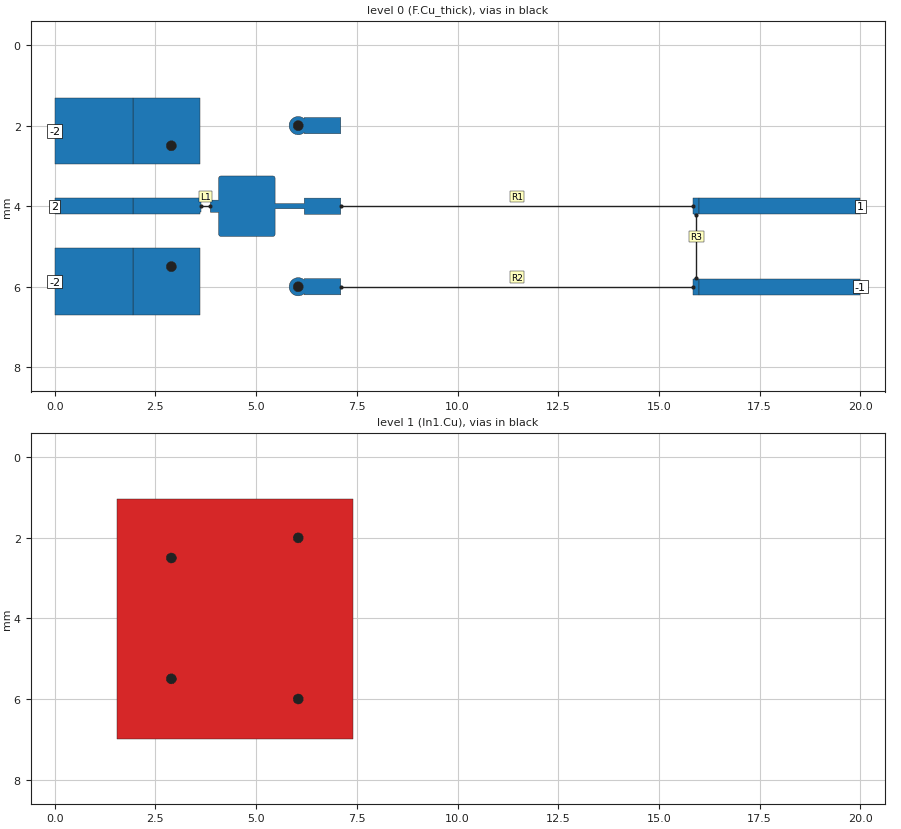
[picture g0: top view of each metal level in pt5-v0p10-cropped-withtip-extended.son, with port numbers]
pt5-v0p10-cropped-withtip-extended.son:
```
FTYP SONPROJ 19 ! Sonnet Project File
VER 18.56
HEADER
LIC antikernel2.1.51813
DAT 10/20/2022 10:21:03
BUILT_BY_CREATED xgeom 18.54 09/23/2022 20:17:08
BUILT_BY_SAVED sonnet 18.56
MDATE 10/20/2022 10:21:03
HDATE 10/20/2022 10:21:03
ANN Created by dxfgeo, Sonnet Software Inc.
END HEADER
DIM
ANG DEG
CAP FF
CON /OH
FREQ GHZ
IND PH
LNG MM
RES OH
END DIM
CONTROL
VARSWP
OPTIONS  -dj
SPEED 1
CACHE_ABS 2
Q_ACC N
END CONTROL
GEO
DRP1 LEFT LINK
POLY 352 1
0
DRP1 RIGHT LINK
POLY 346 1
0
TMET "Free Space" 0 FREESPACE 376.7303136 0 0 0
BMET "Free Space" 0 FREESPACE 376.7303136 0 0 0
MET "Copper_1oz+plated_thick_up" 1 TMM 58000000 0.5 0.0432 2
MET "Copper_1oz+plated_thin" 4 NOR 58000000 0.5 0.0432 
MET "Copper_0.5oz_thin" 2 NOR 58000000 0.5 0.0175 
MET "Copper_1oz+plated_thick_down" 3 TMM 58000000 0.5 0.0432 2 CDVY TDWN
MET "Copper 35um" 1 VOL 58000000 0.035
BOX 4 20 8 1600 640 20 0
      10 1 1 0 0 0 0 "Air"
      0.2021 3.61 1 0.0092 0 0 0 "Isola_FR408HR"
      1.1938 3.61 1 0.0092 0 0 0 "Isola_FR408HR"
      0.2021 3.61 1 0.0092 0 0 0 "Isola_FR408HR"
      10 1 1 0 0 0 0 "Air"
TECHLAY VIA Via1 L3D0 -7 -65534 CAD Via1 drawing 
VIA POLYGON
0 0 4 N 327 1 1 100 100 0 0 0 Y
TOLEVEL 3 RING NOCOVERS
END
END
TECHLAY METAL F.Cu_thick L1D0 -1 -65534 CAD F.Cu drawing 
0 0 0 N 149 1 1 100 100 0 0 0 Y
END
END
TECHLAY METAL F.Cu_thin <UNSPECIFIED> -2 -65534 CAD F.Cu_thin drawing 
0 0 1 N 161 1 1 100 100 0 0 0 Y
END
END
TECHLAY METAL In1.Cu L2D0 -3 -65534 CAD In1.Cu drawing 
1 0 2 N 166 1 1 100 100 0 0 0 Y
END
END
TECHLAY METAL In2.Cu <UNSPECIFIED> -4 -65534 CAD In2.Cu drawing 
2 0 2 N 169 1 1 100 100 0 0 0 Y
END
END
TECHLAY METAL B.Cu_thick <UNSPECIFIED> -5 -65534 CAD B.Cu drawing 
3 0 3 N 172 1 1 100 100 0 0 0 Y
END
END
TECHLAY METAL B.Cu_thin <UNSPECIFIED> -6 -65534 CAD B.Cu_thin drawing 
3 0 1 N 174 1 1 100 100 0 0 0 Y
END
END
LORGN 0 8 U 
POR1 BOX
POLY 346 1
2
1 50 0 0 0 20 4 
POR1 BOX
POLY 349 1
2
-1 50 0 0 0 20 6 
POR1 BOX
POLY 352 1
2
-2 50 0 0 0 0 2.13 
POR1 BOX
POLY 356 1
2
-2 50 0 0 0 0 5.87 
POR1 BOX
POLY 359 1
2
2 50 0 0 0 0 4 
SMD 0 "L1"
ID 126
GNDREF AUTO
DRP1 RIGHT NONE 1
DRP1 LEFT NONE 1
SBOX 3.6925 3.8075 3.9425 4.0575
PBSHW N
LPOS 3.75 3.9425
TYPE SPARAM 1
SMDP 0 3.865 4 R 3 1 
EXSMDP
GNDREF AUTO
TERMW FEED
END EXSMDP
SMDP 0 3.635 4 L 4 2 
EXSMDP
GNDREF AUTO
TERMW FEED
END EXSMDP
END
SMD 0 "R1"
ID 213
GNDREF FLOAT
DRP1 RIGHT NONE 2
DRP1 LEFT NONE 2
SBOX 9.2875 13.6625 1.8125 6.1875
PBSHW Y
PBOX 7.1 15.85 1.8125 6.1875
PKG 8.75 0.9 0.9
LPOS 11.475 1.8125
TYPE SPARAM 2
SMDP 0 15.85 4 R 5 1 
EXSMDP
GNDREF FLOAT
TERMW FEED
END EXSMDP
SMDP 0 7.1 4 L 6 2 
EXSMDP
GNDREF FLOAT
TERMW FEED
END EXSMDP
END
SMD 0 "R2"
ID 218
GNDREF FLOAT
DRP1 LEFT NONE 2
DRP1 RIGHT NONE 2
SBOX 9.2875 13.6625 3.8125 8.1875
PBSHW Y
PBOX 7.1 15.85 3.8125 8.1875
PKG 8.75 0.9 0.9
LPOS 11.475 3.8125
TYPE SPARAM 3
SMDP 0 15.85 6 R 7 1 
EXSMDP
GNDREF FLOAT
TERMW FEED
END EXSMDP
SMDP 0 7.1 6 L 8 2 
EXSMDP
GNDREF FLOAT
TERMW FEED
END EXSMDP
END
SMD 0 "R3"
ID 227
GNDREF AUTO
DRP1 TOP NONE 1
DRP1 BOTTOM NONE 1
SBOX 15.535 16.325 4.605 5.395
PBSHW Y
PBOX 15.14 16.72 4.605 5.395
PKG 1.58 0.1 0.1
LPOS 15.93 4.605
TYPE IDEAL RES 50
SMDP 0 15.93 4.21 T 9 1 
EXSMDP
GNDREF AUTO
TERMW FEED
END EXSMDP
SMDP 0 15.93 5.79 B 10 2 
EXSMDP
GNDREF AUTO
TERMW FEED
END EXSMDP
END
NUM 20
VIA POLYGON
0 53 4 N 15 1 1 100 100 0 0 0 Y
TOLEVEL 3 RING NOCOVERS
TLAYNAM Via1 INH
USER_DAT FromImport
6.045 6.125
6.021 6.123
6.009 6.12
5.997 6.115
5.986 6.11
5.976 6.104
5.966 6.097
5.948 6.079
5.941 6.069
5.935 6.059
5.93 6.048
5.925 6.036
5.922 6.024
5.92 6
5.922 5.976
5.925 5.964
5.93 5.952
5.935 5.941
5.941 5.931
5.948 5.921
5.966 5.903
5.976 5.896
5.986 5.89
5.997 5.885
6.009 5.88
6.021 5.877
6.045 5.875
6.069 5.877
6.081 5.88
6.093 5.885
6.104 5.89
6.114 5.896
6.124 5.903
6.142 5.921
6.149 5.931
6.155 5.941
6.16 5.952
6.165 5.964
6.168 5.976
6.17 6
6.168 6.024
6.165 6.036
6.16 6.048
6.155 6.059
6.149 6.069
6.142 6.079
6.124 6.097
6.114 6.104
6.104 6.11
6.093 6.115
6.081 6.12
6.069 6.123
6.045 6.125
END
VIA POLYGON
0 53 4 N 18 1 1 100 100 0 0 0 Y
TOLEVEL 3 RING NOCOVERS
TLAYNAM Via1 INH
USER_DAT FromImport
2.895 5.625
2.871 5.623
2.859 5.62
2.847 5.615
2.836 5.61
2.826 5.604
2.816 5.597
2.798 5.579
2.791 5.569
2.785 5.559
2.78 5.548
2.775 5.536
2.772 5.524
2.77 5.5
2.772 5.476
2.775 5.464
2.78 5.452
2.785 5.441
2.791 5.431
2.798 5.421
2.816 5.403
2.826 5.396
2.836 5.39
2.847 5.385
2.859 5.38
2.871 5.377
2.895 5.375
2.919 5.377
2.931 5.38
2.943 5.385
2.954 5.39
2.964 5.396
2.974 5.403
2.992 5.421
2.999 5.431
3.005 5.441
3.01 5.452
3.015 5.464
3.018 5.476
3.02 5.5
3.018 5.524
3.015 5.536
3.01 5.548
3.005 5.559
2.999 5.569
2.992 5.579
2.974 5.597
2.964 5.604
2.954 5.61
2.943 5.615
2.931 5.62
2.919 5.623
2.895 5.625
END
VIA POLYGON
0 53 4 N 21 1 1 100 100 0 0 0 Y
TOLEVEL 3 RING NOCOVERS
TLAYNAM Via1 INH
USER_DAT FromImport
2.895 2.625
2.871 2.623
2.859 2.62
2.847 2.615
2.836 2.61
2.826 2.604
2.816 2.597
2.798 2.579
2.791 2.569
2.785 2.559
2.78 2.548
2.775 2.536
2.772 2.524
2.77 2.5
2.772 2.476
2.775 2.464
2.78 2.452
2.785 2.441
2.791 2.431
2.798 2.421
2.816 2.403
2.826 2.396
2.836 2.39
2.847 2.385
2.859 2.38
2.871 2.377
2.895 2.375
2.919 2.377
2.931 2.38
2.943 2.385
2.954 2.39
2.964 2.396
2.974 2.403
2.992 2.421
2.999 2.431
3.005 2.441
3.01 2.452
3.015 2.464
3.018 2.476
3.02 2.5
3.018 2.524
3.015 2.536
3.01 2.548
3.005 2.559
2.999 2.569
2.992 2.579
2.974 2.597
2.964 2.604
2.954 2.61
2.943 2.615
2.931 2.62
2.919 2.623
2.895 2.625
END
VIA POLYGON
0 53 4 N 24 1 1 100 100 0 0 0 Y
TOLEVEL 3 RING NOCOVERS
TLAYNAM Via1 INH
USER_DAT FromImport
6.045 2.125
6.021 2.123
6.009 2.12
5.997 2.115
5.986 2.11
5.976 2.104
5.966 2.097
5.948 2.079
5.941 2.069
5.935 2.059
5.93 2.048
5.925 2.036
5.922 2.024
5.92 2
5.922 1.976
5.925 1.964
5.93 1.952
5.935 1.941
5.941 1.931
5.948 1.921
5.966 1.903
5.976 1.896
5.986 1.89
5.997 1.885
6.009 1.88
6.021 1.877
6.045 1.875
6.069 1.877
6.081 1.88
6.093 1.885
6.104 1.89
6.114 1.896
6.124 1.903
6.142 1.921
6.149 1.931
6.155 1.941
6.16 1.952
6.165 1.964
6.168 1.976
6.17 2
6.168 2.024
6.165 2.036
6.16 2.048
6.155 2.059
6.149 2.069
6.142 2.079
6.124 2.097
6.114 2.104
6.104 2.11
6.093 2.115
6.081 2.12
6.069 2.123
6.045 2.125
END
0 5 0 N 105 1 1 100 100 0 0 0 Y
TLAYNAM F.Cu_thick INH
USER_DAT FromImport
3.605 1.31
1.95 1.31
1.95 2.95
3.605 2.95
3.605 1.31
END
0 5 0 N 106 1 1 100 100 0 0 0 Y
TLAYNAM F.Cu_thick INH
USER_DAT FromImport
3.605 5.05
1.95 5.05
1.95 6.69
3.605 6.69
3.605 5.05
END
0 9 0 N 107 1 1 100 100 0 0 0 Y
TLAYNAM F.Cu_thick INH
USER_DAT FromImport
3.605 4.15
3.635 4.15
3.635 3.85
3.605 3.85
3.605 3.8
1.95 3.8
1.95 4.2
3.605 4.2
3.605 4.15
END
0 25 0 N 112 1 1 100 100 0 0 0 Y
TLAYNAM F.Cu_thick INH
USER_DAT FromImport
5.456 4.736
5.47 4.701
5.47 4.063
6.195 4.063
6.195 4.2
7.1 4.2
7.1 3.8
6.195 3.8
6.195 3.937
5.47 3.937
5.47 3.299
5.456 3.264
5.421 3.25
4.119 3.25
4.084 3.264
4.07 3.299
4.07 3.85
3.865 3.85
3.865 4.15
4.07 4.15
4.07 4.701
4.084 4.736
4.119 4.75
5.421 4.75
5.456 4.736
END
0 53 0 N 113 1 1 100 100 0 0 0 Y
TLAYNAM F.Cu_thick INH
USER_DAT FromImport
6.078 6.223
6.1 6.218
6.121 6.212
6.141 6.203
6.161 6.193
6.179 6.181
6.195 6.168
6.195 6.2
7.1 6.2
7.1 5.8
6.195 5.8
6.195 5.832
6.179 5.819
6.161 5.807
6.141 5.797
6.121 5.788
6.1 5.782
6.078 5.777
6.056 5.775
6.034 5.775
6.012 5.777
5.99 5.782
5.969 5.788
5.949 5.797
5.929 5.807
5.911 5.819
5.894 5.833
5.878 5.849
5.864 5.866
5.852 5.884
5.842 5.904
5.833 5.924
5.827 5.945
5.822 5.967
5.82 5.989
5.82 6.011
5.822 6.033
5.827 6.055
5.833 6.076
5.842 6.096
5.852 6.116
5.864 6.134
5.878 6.151
5.894 6.167
5.911 6.181
5.929 6.193
5.949 6.203
5.969 6.212
5.99 6.218
6.012 6.223
6.034 6.225
6.056 6.225
6.078 6.223
END
0 53 0 N 114 1 1 100 100 0 0 0 Y
TLAYNAM F.Cu_thick INH
USER_DAT FromImport
6.078 2.223
6.1 2.218
6.121 2.212
6.141 2.203
6.161 2.193
6.179 2.181
6.195 2.168
6.195 2.2
7.1 2.2
7.1 1.8
6.195 1.8
6.195 1.832
6.179 1.819
6.161 1.807
6.141 1.797
6.121 1.788
6.1 1.782
6.078 1.777
6.056 1.775
6.034 1.775
6.012 1.777
5.99 1.782
5.969 1.788
5.949 1.797
5.929 1.807
5.911 1.819
5.894 1.833
5.878 1.849
5.864 1.866
5.852 1.884
5.842 1.904
5.833 1.924
5.827 1.945
5.822 1.967
5.82 1.989
5.82 2.011
5.822 2.033
5.827 2.055
5.833 2.076
5.842 2.096
5.852 2.116
5.864 2.134
5.878 2.151
5.894 2.167
5.911 2.181
5.929 2.193
5.949 2.203
5.969 2.212
5.99 2.218
6.012 2.223
6.034 2.225
6.056 2.225
6.078 2.223
END
0 5 0 N 204 1 1 100 100 0 0 0 Y
TLAYNAM F.Cu_thick INH
15.85 3.8
16 3.8
16 4.2
15.85 4.2
15.85 3.8
END
0 5 0 N 205 1 1 100 100 0 0 0 Y
TLAYNAM F.Cu_thick INH
15.85 5.8
16 5.8
16 6.2
15.85 6.2
15.85 5.8
END
0 5 0 N 225 1 1 100 100 0 0 0 Y
TLAYNAM F.Cu_thick INH
15.98 5.79
15.88 5.79
15.88 5.8
15.98 5.8
15.98 5.79
END
0 5 0 N 226 1 1 100 100 0 0 0 Y
TLAYNAM F.Cu_thick INH
15.98 4.2
15.88 4.2
15.88 4.21
15.98 4.21
15.98 4.2
END
0 5 0 N 346 1 1 100 100 0 0 0 Y
TLAYNAM F.Cu_thick INH
16 3.8
16 4.2
20 4.2
20 3.8
16 3.8
END
0 5 0 N 349 1 1 100 100 0 0 0 Y
TLAYNAM F.Cu_thick INH
16 5.8
16 6.2
20 6.2
20 5.8
16 5.8
END
0 5 0 N 352 1 1 100 100 0 0 0 Y
TLAYNAM F.Cu_thick INH
1.95 1.31
1.95 2.95
0 2.95
0 1.31
1.95 1.31
END
0 5 0 N 356 1 1 100 100 0 0 0 Y
TLAYNAM F.Cu_thick INH
1.95 5.05
1.95 6.69
0 6.69
0 5.05
1.95 5.05
END
0 5 0 N 359 1 1 100 100 0 0 0 Y
TLAYNAM F.Cu_thick INH
1.95 3.8
1.95 4.2
0 4.2
0 3.8
1.95 3.8
END
1 5 2 N 133 1 1 100 100 0 0 0 Y
TLAYNAM In1.Cu INH
1.55 1.025
7.4 1.025
7.4 7
1.55 7
1.55 1.025
END
END GEO
OPT
MAX 100
END OPT
VARSWP
ENABLED Y
FREQ Y AY ABS_ENTRY 0.1 8.5 -1 300 
END
END VARSWP
SMDFILES
1 "../../../../../../ceph/bulk/datasheets/Murata/Inductor/LQP03TN2N2B02.s2p"
2 "../../../../../../ceph/fast/home/azonenberg/misc/probes/resistors/hml-450/450r-refext.s2p"
3 "../../../../../../ceph/fast/home/azonenberg/misc/probes/resistors/hml-lead-refext.s2p"
END SMDFILES
```
